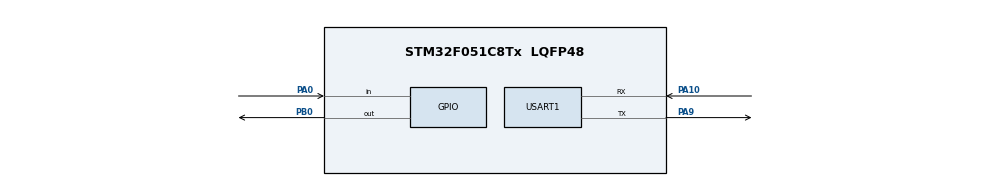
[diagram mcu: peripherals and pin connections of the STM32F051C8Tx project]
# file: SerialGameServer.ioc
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Mcu.Family=STM32F0
Mcu.Name=STM32F051C8Tx
Mcu.Package=LQFP48
NVIC.USART1_IRQn=true\:0\:0\:false\:false\:true\:true\:true\:true
PA0.GPIO_PuPd=GPIO_PULLUP
PA0.Signal=GPIO_Input
PA10.Mode=Asynchronous
PA10.Signal=USART1_RX
PA9.Mode=Asynchronous
PA9.Signal=USART1_TX
PB0.Signal=GPIO_Output
ProjectManager.HeapSize=0x200
ProjectManager.StackSize=0x400
ProjectManager.TargetToolchain=STM32CubeIDE
USART1.VirtualMode-Asynchronous=VM_ASYNC
board=custom

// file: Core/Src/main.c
/* USER CODE BEGIN Header */
/**
  ******************************************************************************
  * @file           : main.c
  * @brief          : Main program body
  ******************************************************************************
  */
/* USER CODE END Header */
#include "main.h"

/* USER CODE BEGIN Includes */
#include <string.h>
#include "protocol.h"
#include "lcd_status.h"  /* Read-only STM32 LCD server state */
/* USER CODE END Includes */

UART_HandleTypeDef huart1;

/* USER CODE BEGIN PV */
uint8_t rx_byte;
char rx_buffer[64];
volatile uint8_t rx_index = 0;
volatile uint8_t frame_ready = 0;
volatile uint8_t rx_overflow = 0;
/* USER CODE END PV */

void SystemClock_Config(void);
static void MX_GPIO_Init(void);
static void MX_USART1_UART_Init(void);

int main(void)
{
  HAL_Init();
  SystemClock_Config();
  MX_GPIO_Init();
  MX_USART1_UART_Init();

  /* USER CODE BEGIN 2 */
  LCD_Status_Init();
  LCD_Status_Update(current_state);
  HAL_UART_Receive_IT(&huart1, &rx_byte, 1);
  /* USER CODE END 2 */

  while (1) {
    /* USER CODE BEGIN 3 */
    /* Hardware LED/Button test */
    if (HAL_GPIO_ReadPin(GPIOA, GPIO_PIN_0) == GPIO_PIN_RESET)
    {
        HAL_GPIO_WritePin(GPIOB, GPIO_PIN_0, GPIO_PIN_SET);
    }
    else {
        HAL_GPIO_WritePin(GPIOB, GPIO_PIN_0, GPIO_PIN_RESET);
    }

    /* UART Frame Processing */
    /* UART Frame Processing */
	if (frame_ready) {
		char tx_response[64];
		memset(tx_response, 0, sizeof(tx_response));

		if (rx_overflow) {
			strcpy(tx_response, RSP_NACK_BADCMD);
		}
		else {
			/* Pass the valid string to our protocol parser */
			Protocol_ParseCommand(rx_buffer, tx_response);
		}

		/* Send the authoritative response back to the PC */
		HAL_UART_Transmit(&huart1, (uint8_t *)tx_response, strlen(tx_response), HAL_MAX_DELAY);

		/* Reset rx buffer and flags for the next message */
		rx_index = 0;
		memset(rx_buffer, 0, sizeof(rx_buffer));
		rx_overflow = 0;
		frame_ready = 0;

		/* Display state transitions, preserving UART and game logic. */
		LCD_Status_Update(current_state);
	}
  }
  /* USER CODE END 3 */
}

void SystemClock_Config(void)
{
  RCC_OscInitTypeDef RCC_OscInitStruct = {0};
  RCC_ClkInitTypeDef RCC_ClkInitStruct = {0};
  RCC_PeriphCLKInitTypeDef PeriphClkInit = {0};

  RCC_OscInitStruct.OscillatorType = RCC_OSCILLATORTYPE_HSI;
  RCC_OscInitStruct.HSIState = RCC_HSI_ON;
  RCC_OscInitStruct.HSICalibrationValue = RCC_HSICALIBRATION_DEFAULT;
  RCC_OscInitStruct.PLL.PLLState = RCC_PLL_NONE;
  if (HAL_RCC_OscConfig(&RCC_OscInitStruct) != HAL_OK) { Error_Handler(); }

  RCC_ClkInitStruct.ClockType = RCC_CLOCKTYPE_HCLK|RCC_CLOCKTYPE_SYSCLK|RCC_CLOCKTYPE_PCLK1;
  RCC_ClkInitStruct.SYSCLKSource = RCC_SYSCLKSOURCE_HSI;
  RCC_ClkInitStruct.AHBCLKDivider = RCC_SYSCLK_DIV1;
  RCC_ClkInitStruct.APB1CLKDivider = RCC_HCLK_DIV1;
  if (HAL_RCC_ClockConfig(&RCC_ClkInitStruct, FLASH_LATENCY_0) != HAL_OK) { Error_Handler(); }

  PeriphClkInit.PeriphClockSelection = RCC_PERIPHCLK_USART1;
  PeriphClkInit.Usart1ClockSelection = RCC_USART1CLKSOURCE_PCLK1;
  if (HAL_RCCEx_PeriphCLKConfig(&PeriphClkInit) != HAL_OK) { Error_Handler(); }
}

static void MX_USART1_UART_Init(void)
{
  huart1.Instance = USART1;
  huart1.Init.BaudRate = 38400;
  huart1.Init.WordLength = UART_WORDLENGTH_8B;
  huart1.Init.StopBits = UART_STOPBITS_1;
  huart1.Init.Parity = UART_PARITY_NONE;
  huart1.Init.Mode = UART_MODE_TX_RX;
  huart1.Init.HwFlowCtl = UART_HWCONTROL_NONE;
  huart1.Init.OverSampling = UART_OVERSAMPLING_16;
  huart1.Init.OneBitSampling = UART_ONE_BIT_SAMPLE_DISABLE;
  huart1.AdvancedInit.AdvFeatureInit = UART_ADVFEATURE_NO_INIT;
  if (HAL_UART_Init(&huart1) != HAL_OK) { Error_Handler(); }
}

static void MX_GPIO_Init(void)
{
  GPIO_InitTypeDef GPIO_InitStruct = {0};
  __HAL_RCC_GPIOA_CLK_ENABLE();
  __HAL_RCC_GPIOB_CLK_ENABLE();

  HAL_GPIO_WritePin(GPIOB, GPIO_PIN_0, GPIO_PIN_RESET);

  GPIO_InitStruct.Pin = GPIO_PIN_0;
  GPIO_InitStruct.Mode = GPIO_MODE_INPUT;
  GPIO_InitStruct.Pull = GPIO_PULLUP;
  HAL_GPIO_Init(GPIOA, &GPIO_InitStruct);

  GPIO_InitStruct.Pin = GPIO_PIN_0;
  GPIO_InitStruct.Mode = GPIO_MODE_OUTPUT_PP;
  GPIO_InitStruct.Pull = GPIO_NOPULL;
  GPIO_InitStruct.Speed = GPIO_SPEED_FREQ_LOW;
  HAL_GPIO_Init(GPIOB, &GPIO_InitStruct);
}

/* USER CODE BEGIN 4 */
void HAL_UART_RxCpltCallback(UART_HandleTypeDef *huart)
{
    if (huart->Instance == USART1)
    {
        if (rx_byte == '\n' || rx_byte == '\r')
        {
            if (rx_index > 0 || rx_overflow)
            {
                rx_buffer[rx_index] = '\0';
                frame_ready = 1;
            }
        }
        else
        {
            if (rx_index < (sizeof(rx_buffer) - 1))
            {
                if (!rx_overflow)
                {
                    rx_buffer[rx_index++] = (char)rx_byte;
                }
            }
            else
            {
                rx_overflow = 1;
            }
        }
        HAL_UART_Receive_IT(&huart1, &rx_byte, 1);
    }
}
/* USER CODE END 4 */

void Error_Handler(void)
{
  __disable_irq();
  while (1) { }
}
